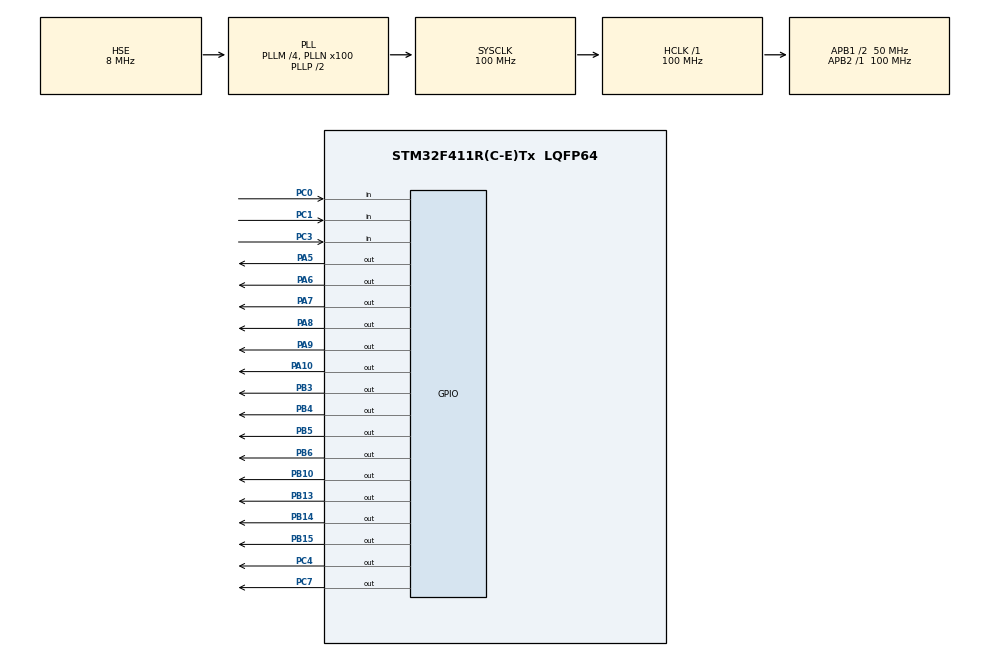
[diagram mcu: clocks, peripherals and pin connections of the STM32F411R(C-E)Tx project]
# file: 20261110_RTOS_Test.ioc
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FREERTOS.Tasks01=defaultTask,0,128,StartDefaultTask,Default,NULL,Dynamic,NULL,NULL;myTask02,0,128,StartTask02,Default,NULL,Dynamic,NULL,NULL;myTask03,0,128,StartTask03,Default,NULL,Dynamic,NULL,NULL;myTask04,0,128,StartTask04,Default,NULL,Dynamic,NULL,NULL
FREERTOS.configUSE_NEWLIB_REENTRANT=1
Mcu.Family=STM32F4
Mcu.Name=STM32F411R(C-E)Tx
Mcu.Package=LQFP64
NVIC.PriorityGroup=NVIC_PRIORITYGROUP_4
NVIC.TIM1_UP_TIM10_IRQn=true\:15\:0\:false\:false\:true\:false\:false\:true\:true
NVIC.TimeBase=TIM1_UP_TIM10_IRQn
NVIC.TimeBaseIP=TIM10
PA10.Signal=GPIO_Output
PA13.Mode=Serial_Wire
PA13.Signal=SYS_JTMS-SWDIO
PA14.Mode=Serial_Wire
PA14.Signal=SYS_JTCK-SWCLK
PA5.Signal=GPIO_Output
PA6.Signal=GPIO_Output
PA7.Signal=GPIO_Output
PA8.Signal=GPIO_Output
PA9.Signal=GPIO_Output
PB10.Signal=GPIO_Output
PB13.Signal=GPIO_Output
PB14.Signal=GPIO_Output
PB15.Signal=GPIO_Output
PB3.Signal=GPIO_Output
PB4.Signal=GPIO_Output
PB5.Signal=GPIO_Output
PB6.Signal=GPIO_Output
PC0.Signal=GPIO_Input
PC1.Signal=GPIO_Input
PC3.Signal=GPIO_Input
PC4.Signal=GPIO_Output
PC7.Signal=GPIO_Output
PH0\ -\ OSC_IN.Mode=HSE-External-Oscillator
PH0\ -\ OSC_IN.Signal=RCC_OSC_IN
PH1\ -\ OSC_OUT.Mode=HSE-External-Oscillator
PH1\ -\ OSC_OUT.Signal=RCC_OSC_OUT
ProjectManager.HeapSize=0x200
ProjectManager.StackSize=0x400
ProjectManager.TargetToolchain=STM32CubeIDE
RCC.48MHZClocksFreq_Value=50000000
RCC.AHBFreq_Value=100000000
RCC.APB1CLKDivider=RCC_HCLK_DIV2
RCC.APB1Freq_Value=50000000
RCC.APB1TimFreq_Value=100000000
RCC.APB2Freq_Value=100000000
RCC.APB2TimFreq_Value=100000000
RCC.CortexFreq_Value=100000000
RCC.HCLKFreq_Value=100000000
RCC.HSE_VALUE=8000000
RCC.HSI_VALUE=16000000
RCC.LSE_VALUE=32768
RCC.PLLM=4
RCC.PLLN=100
RCC.PLLSourceVirtual=RCC_PLLSOURCE_HSE
RCC.SYSCLKFreq_VALUE=100000000
RCC.SYSCLKSource=RCC_SYSCLKSOURCE_PLLCLK
RCC.VCOOutputFreq_Value=200000000
VP_FREERTOS_VS_CMSIS_V1.Mode=CMSIS_V1
VP_SYS_VS_tim10.Mode=TIM10
board=custom

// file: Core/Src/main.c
/* USER CODE BEGIN Header */
/**
 ******************************************************************************
 * @file           : main.c
 * @brief          : Main program body
 ******************************************************************************
 * @attention
 *
 * Copyright (c) 2026 STMicroelectronics.
 * All rights reserved.
 *
 * This software is licensed under terms that can be found in the LICENSE file
 * in the root directory of this software component.
 * If no LICENSE file comes with this software, it is provided AS-IS.
 *
 ******************************************************************************
 */
/* USER CODE END Header */
#include "main.h"
#include "cmsis_os.h"

/* USER CODE BEGIN Includes */
#include <stdio.h>
#include "driver/fnd/fnd.h"
#include "driver/button/button.h"
#include "ap/task/counter_task/counter_task.h"
#include "ap/task/display_task/display_task.h"
#include "ap/task/event_task/event_task.h"
/* USER CODE END Includes */

osThreadId defaultTaskHandle;
osThreadId myTask02Handle;
osThreadId myTask03Handle;
osThreadId myTask04Handle;

void SystemClock_Config(void);
static void MX_GPIO_Init(void);
void StartDefaultTask(void const * argument);
void StartTask02(void const * argument);
void StartTask03(void const * argument);
void StartTask04(void const * argument);

/* USER CODE BEGIN 0 */

// STM32 CubeIDE에서 ITM 디버깅 기능을 설정하고 printf 함수 사용하기
int __io_putchar(int ch)
{

	//HAL_UART_Transmit(&huart2, (uint8_t *)&ch, 1, HAL_MAX_DELAY);
	ITM_SendChar(ch);
	return ch;
}

/* USER CODE END 0 */

int main(void)
{

	/* MCU Configuration--------------------------------------------------------*/

	/* Reset of all peripherals, Initializes the Flash interface and the Systick. */
	HAL_Init();

	/* Configure the system clock */
	SystemClock_Config();

	/* Initialize all configured peripherals */
	MX_GPIO_Init();

	/* Create the thread(s) */
	/* definition and creation of defaultTask */
	osThreadDef(defaultTask, StartDefaultTask, osPriorityNormal, 0, 128);
	defaultTaskHandle = osThreadCreate(osThread(defaultTask), NULL);

	/* definition and creation of myTask02 */
	osThreadDef(myTask02, StartTask02, osPriorityNormal, 0, 128);
	myTask02Handle = osThreadCreate(osThread(myTask02), NULL);

	/* definition and creation of myTask03 */
	osThreadDef(myTask03, StartTask03, osPriorityNormal, 0, 128);
	myTask03Handle = osThreadCreate(osThread(myTask03), NULL);

	/* definition and creation of myTask04 */
	osThreadDef(myTask04, StartTask04, osPriorityNormal, 0, 128);
	myTask04Handle = osThreadCreate(osThread(myTask04), NULL);

	/* Start scheduler */
	osKernelStart();

	/* We should never get here as control is now taken by the scheduler */

	/* Infinite loop */
	while (1)
	{

	}
}

void SystemClock_Config(void)
{
	RCC_OscInitTypeDef RCC_OscInitStruct = {0};
	RCC_ClkInitTypeDef RCC_ClkInitStruct = {0};

	/** Configure the main internal regulator output voltage
	 */
	__HAL_RCC_PWR_CLK_ENABLE();
	__HAL_PWR_VOLTAGESCALING_CONFIG(PWR_REGULATOR_VOLTAGE_SCALE1);

	/** Initializes the RCC Oscillators according to the specified parameters
	 * in the RCC_OscInitTypeDef structure.
	 */
	RCC_OscInitStruct.OscillatorType = RCC_OSCILLATORTYPE_HSE;
	RCC_OscInitStruct.HSEState = RCC_HSE_ON;
	RCC_OscInitStruct.PLL.PLLState = RCC_PLL_ON;
	RCC_OscInitStruct.PLL.PLLSource = RCC_PLLSOURCE_HSE;
	RCC_OscInitStruct.PLL.PLLM = 4;
	RCC_OscInitStruct.PLL.PLLN = 100;
	RCC_OscInitStruct.PLL.PLLP = RCC_PLLP_DIV2;
	RCC_OscInitStruct.PLL.PLLQ = 4;
	if (HAL_RCC_OscConfig(&RCC_OscInitStruct) != HAL_OK)
	{
		Error_Handler();
	}

	/** Initializes the CPU, AHB and APB buses clocks
	 */
	RCC_ClkInitStruct.ClockType = RCC_CLOCKTYPE_HCLK|RCC_CLOCKTYPE_SYSCLK
			|RCC_CLOCKTYPE_PCLK1|RCC_CLOCKTYPE_PCLK2;
	RCC_ClkInitStruct.SYSCLKSource = RCC_SYSCLKSOURCE_PLLCLK;
	RCC_ClkInitStruct.AHBCLKDivider = RCC_SYSCLK_DIV1;
	RCC_ClkInitStruct.APB1CLKDivider = RCC_HCLK_DIV2;
	RCC_ClkInitStruct.APB2CLKDivider = RCC_HCLK_DIV1;

	if (HAL_RCC_ClockConfig(&RCC_ClkInitStruct, FLASH_LATENCY_3) != HAL_OK)
	{
		Error_Handler();
	}
}

static void MX_GPIO_Init(void)
{
	GPIO_InitTypeDef GPIO_InitStruct = {0};

	/* GPIO Ports Clock Enable */
	__HAL_RCC_GPIOH_CLK_ENABLE();
	__HAL_RCC_GPIOC_CLK_ENABLE();
	__HAL_RCC_GPIOA_CLK_ENABLE();
	__HAL_RCC_GPIOB_CLK_ENABLE();

	/*Configure GPIO pin Output Level */
	HAL_GPIO_WritePin(GPIOA, GPIO_PIN_5|GPIO_PIN_6|GPIO_PIN_7|GPIO_PIN_8
			|GPIO_PIN_9|GPIO_PIN_10, GPIO_PIN_RESET);

	/*Configure GPIO pin Output Level */
	HAL_GPIO_WritePin(GPIOC, GPIO_PIN_4|GPIO_PIN_7, GPIO_PIN_RESET);

	/*Configure GPIO pin Output Level */
	HAL_GPIO_WritePin(GPIOB, GPIO_PIN_10|GPIO_PIN_13|GPIO_PIN_14|GPIO_PIN_15
			|GPIO_PIN_3|GPIO_PIN_4|GPIO_PIN_5|GPIO_PIN_6, GPIO_PIN_RESET);

	/*Configure GPIO pins : PC0 PC1 PC3 */
	GPIO_InitStruct.Pin = GPIO_PIN_0|GPIO_PIN_1|GPIO_PIN_3;
	GPIO_InitStruct.Mode = GPIO_MODE_INPUT;
	GPIO_InitStruct.Pull = GPIO_NOPULL;
	HAL_GPIO_Init(GPIOC, &GPIO_InitStruct);

	/*Configure GPIO pins : PA5 PA6 PA7 PA8
                           PA9 PA10 */
	GPIO_InitStruct.Pin = GPIO_PIN_5|GPIO_PIN_6|GPIO_PIN_7|GPIO_PIN_8
			|GPIO_PIN_9|GPIO_PIN_10;
	GPIO_InitStruct.Mode = GPIO_MODE_OUTPUT_PP;
	GPIO_InitStruct.Pull = GPIO_NOPULL;
	GPIO_InitStruct.Speed = GPIO_SPEED_FREQ_LOW;
	HAL_GPIO_Init(GPIOA, &GPIO_InitStruct);

	/*Configure GPIO pins : PC4 PC7 */
	GPIO_InitStruct.Pin = GPIO_PIN_4|GPIO_PIN_7;
	GPIO_InitStruct.Mode = GPIO_MODE_OUTPUT_PP;
	GPIO_InitStruct.Pull = GPIO_NOPULL;
	GPIO_InitStruct.Speed = GPIO_SPEED_FREQ_LOW;
	HAL_GPIO_Init(GPIOC, &GPIO_InitStruct);

	/*Configure GPIO pins : PB10 PB13 PB14 PB15
                           PB3 PB4 PB5 PB6 */
	GPIO_InitStruct.Pin = GPIO_PIN_10|GPIO_PIN_13|GPIO_PIN_14|GPIO_PIN_15
			|GPIO_PIN_3|GPIO_PIN_4|GPIO_PIN_5|GPIO_PIN_6;
	GPIO_InitStruct.Mode = GPIO_MODE_OUTPUT_PP;
	GPIO_InitStruct.Pull = GPIO_NOPULL;
	GPIO_InitStruct.Speed = GPIO_SPEED_FREQ_LOW;
	HAL_GPIO_Init(GPIOB, &GPIO_InitStruct);

}

void StartDefaultTask(void const * argument)
{
	/* USER CODE BEGIN 5 */
	/* Infinite loop */
	for(;;)
	{
		HAL_GPIO_TogglePin(GPIOC, GPIO_PIN_4);
		printf("Task1: %lu\n", osKernelSysTick());
		osDelay(200); // osDelay는 millisec 단위이다.
	}
	/* USER CODE END 5 */
}

void StartTask02(void const * argument)
{
	/* USER CODE BEGIN StartTask02 */

	/* Infinite loop */
	for(;;)
	{
		display_task();
		osDelay(1);

		//HAL_GPIO_TogglePin(GPIOB, GPIO_PIN_13);
		//printf("Task2: %u\n", osKernelSysTick());
		//osDelay(500);
	}
	/* USER CODE END StartTask02 */
}

void StartTask03(void const * argument)
{
	/* USER CODE BEGIN StartTask03 */
	counter_task_init();
	/* Infinite loop */
	for(;;)
	{
		counter_task();
		osDelay(100);

	//HAL_GPIO_TogglePin(GPIOB, GPIO_PIN_14);
	//printf("Task3: %u\n", osKernelSysTick());
	//osDelay(1000);
	}
}
/* USER CODE END StartTask03 */

void StartTask04(void const * argument)
{
	/* USER CODE BEGIN StartTask04 */
	event_task_init();
	/* Infinite loop */
	for(;;)
	{
		event_task();
		osDelay(10);

		//HAL_GPIO_TogglePin(GPIOB, GPIO_PIN_15);
		//printf("Task4: %lu\n", osKernelSysTick());
		//osDelay(500);
	}
	/* USER CODE END StartTask04 */
}

void HAL_TIM_PeriodElapsedCallback(TIM_HandleTypeDef *htim)
{
	if (htim->Instance == TIM10)
	{
		HAL_IncTick();
	}
}

void Error_Handler(void)
{
	__disable_irq();
	while (1)
	{
	}
}
